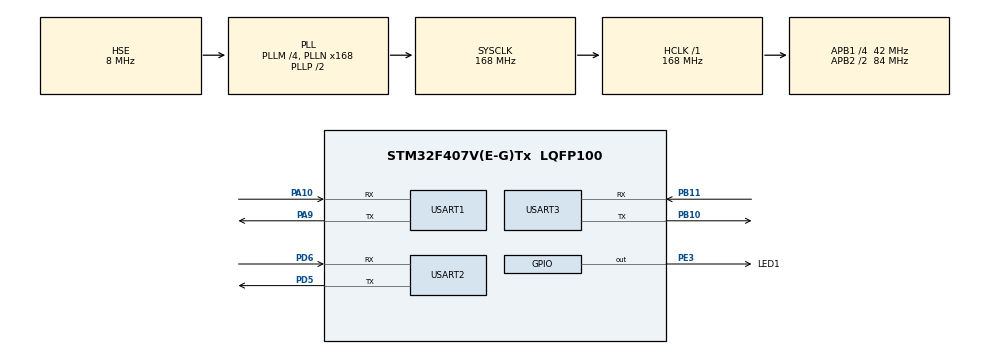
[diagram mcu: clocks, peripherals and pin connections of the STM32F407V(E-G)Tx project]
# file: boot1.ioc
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Mcu.Family=STM32F4
Mcu.Name=STM32F407V(E-G)Tx
Mcu.Package=LQFP100
NVIC.PriorityGroup=NVIC_PRIORITYGROUP_4
NVIC.USART1_IRQn=true\:0\:0\:false\:false\:true\:true\:true
NVIC.USART2_IRQn=true\:0\:0\:false\:false\:true\:true\:true
NVIC.USART3_IRQn=true\:0\:0\:false\:false\:true\:true\:true
PA10.Mode=Asynchronous
PA10.Signal=USART1_RX
PA13.Mode=Serial_Wire
PA13.Signal=SYS_JTMS-SWDIO
PA14.Mode=Serial_Wire
PA14.Signal=SYS_JTCK-SWCLK
PA9.Mode=Asynchronous
PA9.Signal=USART1_TX
PB10.Mode=Asynchronous
PB10.Signal=USART3_TX
PB11.Mode=Asynchronous
PB11.Signal=USART3_RX
PD5.Mode=Asynchronous
PD5.Signal=USART2_TX
PD6.Mode=Asynchronous
PD6.Signal=USART2_RX
PE3.GPIO_Label=LED1
PE3.Signal=GPIO_Output
PH0-OSC_IN.Mode=HSE-External-Oscillator
PH0-OSC_IN.Signal=RCC_OSC_IN
PH1-OSC_OUT.Mode=HSE-External-Oscillator
PH1-OSC_OUT.Signal=RCC_OSC_OUT
ProjectManager.HeapSize=0x2000
ProjectManager.StackSize=0x2000
ProjectManager.TargetToolchain=MDK-ARM V5.32
RCC.48MHZClocksFreq_Value=48000000
RCC.AHBFreq_Value=168000000
RCC.APB1CLKDivider=RCC_HCLK_DIV4
RCC.APB1Freq_Value=42000000
RCC.APB1TimFreq_Value=84000000
RCC.APB2CLKDivider=RCC_HCLK_DIV2
RCC.APB2Freq_Value=84000000
RCC.APB2TimFreq_Value=168000000
RCC.CortexFreq_Value=168000000
RCC.HCLKFreq_Value=168000000
RCC.HSE_VALUE=8000000
RCC.HSI_VALUE=16000000
RCC.LSE_VALUE=32768
RCC.PLLM=4
RCC.PLLN=168
RCC.PLLQ=7
RCC.PLLSourceVirtual=RCC_PLLSOURCE_HSE
RCC.SYSCLKFreq_VALUE=168000000
RCC.SYSCLKSource=RCC_SYSCLKSOURCE_PLLCLK
RCC.VCOOutputFreq_Value=336000000
USART1.VirtualMode=VM_ASYNC
USART2.VirtualMode=VM_ASYNC
USART3.VirtualMode=VM_ASYNC
board=custom

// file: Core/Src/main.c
/* USER CODE BEGIN Header */
/**
  ******************************************************************************
  * @file           : main.c
  * @brief          : Main program body
  ******************************************************************************
  * @attention
  *
  * <h2><center>&copy; Copyright (c) 2020 STMicroelectronics.
  * All rights reserved.</center></h2>
  *
  * This software component is licensed by ST under BSD 3-Clause license,
  * the "License"; You may not use this file except in compliance with the
  * License. You may obtain a copy of the License at:
  *                        opensource.org/licenses/BSD-3-Clause
  *
  ******************************************************************************
  */
/* USER CODE END Header */
#include "main.h"
#include "usart.h"
#include "gpio.h"

/* USER CODE BEGIN Includes */
#include "stmflash.h"
#include "kymodem.h"
#include "dev_com.h"
#include "drv_com.h"
#include "iap.h"
#include "flash_if.h"

/* USER CODE END Includes */

void SystemClock_Config(void);

/* USER CODE BEGIN 0 */

#define USE_RX_MODE
#define KAPP_ADDR  (uint32_t)0x08004000
// 串口接受回调
void g_com_rx_callBack(unsigned char* data,uint32_t size)
{
	#ifdef USE_RX_MODE
	ymodem_rx_handle(data,size);
	#else
	ymodem_tx_handle(data,size);
	#endif
}

// 串口错误回调
void g_ymodem_rx_error_handle(int error_code)
{
	printf("--error code :%d--\r\n",error_code);
}
/******************************************************************************
**函数信息 ：
**功能描述 ：
**输入参数 ：无
**输出参数 ：无
*******************************************************************************/
// 接受head回调
char g_ymodem_rx_head_handle(char *file_name,uint16_t file_name_len, uint32_t file_len)
{
	printf("file:%s %d\r\n",file_name,file_len);
	FLASH_If_Erase( KAPP_ADDR);
	return 0;
}

/******************************************************************************
**函数信息 ：
**功能描述 ：
**输入参数 ：无
**输出参数 ：无
*******************************************************************************/
// 接受数据回调
uint32_t app_addr = KAPP_ADDR;
void g_ymodem_rx_data_handle(char *data, uint16_t len,uint32_t download_byte,uint8_t percent)
{
	printf("data len:%d  %d %d\r\n",len,download_byte ,percent);
	if (FLASH_If_Write(app_addr,(uint32_t*) data,len/4) == FLASHIF_OK)
	{
		app_addr += len;
		printf("data write ok\r\n");
	}
  else{
		printf("data write error\r\n");
	}
}
/******************************************************************************
**函数信息 ：
**功能描述 ：接受完成回调
**输入参数 ：无
**输出参数 ：无
*******************************************************************************/
void g_ymodem_rx_finish_handle(int state)
{
    if(state ==0){
        printf("--file end--\r\n");
        iap_load_app(KAPP_ADDR);
    }else{
        printf("--file end error1 :%d--\r\n",state);
    }
}
/******************************************************************************
**函数信息 ：
**功能描述 ：发送数据处理
**输入参数 ：无
**输出参数 ：无
*******************************************************************************/
char name[] = "testupload.txt";
char file[] = "asdjlfaj129384719823749817239847198273498sdflajsldfjalsdjflasa134917239419823749817298347918237haksjdhfkahsdfkjhaskdjfhkahsd123456789";
//
void g_ymodem_tx_data_handle(uint8_t **file_read_addr, uint32_t  file_read_size, uint32_t file_has_read_size,  uint32_t file_remain_size,uint8_t percent)
{
	printf("read size:%d  has_read:%d  remain:%d  per:%d\r\n",file_read_size,file_has_read_size,  file_remain_size,percent);
			// 指针指向的地址 重新指向
		*file_read_addr = &file[file_has_read_size];
}

/* USER CODE END 0 */

int main(void)
{

  /* MCU Configuration--------------------------------------------------------*/

  /* Reset of all peripherals, Initializes the Flash interface and the Systick. */
  HAL_Init();

  /* Configure the system clock */
  SystemClock_Config();

  /* Initialize all configured peripherals */
  MX_GPIO_Init();
  MX_USART1_UART_Init();
  MX_USART2_UART_Init();
  MX_USART3_UART_Init();
  /* USER CODE BEGIN 2 */

	LL_USART_EnableIT_RXNE(USART1);
	LL_USART_EnableIT_PE(USART1);
	LL_USART_EnableIT_RXNE(USART2);
	LL_USART_EnableIT_PE(USART2);
	LL_USART_EnableIT_RXNE(USART3);
	LL_USART_EnableIT_PE(USART3);

	dev_comctrl_init();
	dev_comctrl_regist_rx_callback(g_com_rx_callBack);

	Ymodem_TypeDef ymodem;
	ymodem.ymodem_write_byte = drv_com2_write;
	ymodem.ymodem_rx_error_handle = g_ymodem_rx_error_handle;
	ymodem.ymodem_rx_head_handle = g_ymodem_rx_head_handle;
	ymodem.ymodem_rx_data_handle = g_ymodem_rx_data_handle;
	ymodem.ymodem_rx_finish_handle = g_ymodem_rx_finish_handle;
	ymodem.ymodem_tx_data_handle = g_ymodem_tx_data_handle;

	ymodem_init(&ymodem);

	printf("qitas init\r\n");

	FLASH_If_Init();
	ymodem_tx_init(name,sizeof(name),sizeof(file)-1);

  /* USER CODE END 2 */

  /* Infinite loop */
  /* USER CODE BEGIN WHILE */
  while (1)
  {
		dev_comctrl_handle();
		#ifdef USE_RX_MODE
		ymodem_rx_time_handle();
		#endif

    /* USER CODE END WHILE */

  }
}

void SystemClock_Config(void)
{
  RCC_OscInitTypeDef RCC_OscInitStruct = {0};
  RCC_ClkInitTypeDef RCC_ClkInitStruct = {0};

  /** Configure the main internal regulator output voltage
  */
  __HAL_RCC_PWR_CLK_ENABLE();
  __HAL_PWR_VOLTAGESCALING_CONFIG(PWR_REGULATOR_VOLTAGE_SCALE1);
  /** Initializes the RCC Oscillators according to the specified parameters
  * in the RCC_OscInitTypeDef structure.
  */
  RCC_OscInitStruct.OscillatorType = RCC_OSCILLATORTYPE_HSE;
  RCC_OscInitStruct.HSEState = RCC_HSE_ON;
  RCC_OscInitStruct.PLL.PLLState = RCC_PLL_ON;
  RCC_OscInitStruct.PLL.PLLSource = RCC_PLLSOURCE_HSE;
  RCC_OscInitStruct.PLL.PLLM = 4;
  RCC_OscInitStruct.PLL.PLLN = 168;
  RCC_OscInitStruct.PLL.PLLP = RCC_PLLP_DIV2;
  RCC_OscInitStruct.PLL.PLLQ = 7;
  if (HAL_RCC_OscConfig(&RCC_OscInitStruct) != HAL_OK)
  {
    Error_Handler();
  }
  /** Initializes the CPU, AHB and APB buses clocks
  */
  RCC_ClkInitStruct.ClockType = RCC_CLOCKTYPE_HCLK|RCC_CLOCKTYPE_SYSCLK
                              |RCC_CLOCKTYPE_PCLK1|RCC_CLOCKTYPE_PCLK2;
  RCC_ClkInitStruct.SYSCLKSource = RCC_SYSCLKSOURCE_PLLCLK;
  RCC_ClkInitStruct.AHBCLKDivider = RCC_SYSCLK_DIV1;
  RCC_ClkInitStruct.APB1CLKDivider = RCC_HCLK_DIV4;
  RCC_ClkInitStruct.APB2CLKDivider = RCC_HCLK_DIV2;

  if (HAL_RCC_ClockConfig(&RCC_ClkInitStruct, FLASH_LATENCY_5) != HAL_OK)
  {
    Error_Handler();
  }
}

void Error_Handler(void)
{
}

/************************ (C) COPYRIGHT STMicroelectronics *****END OF FILE****/
